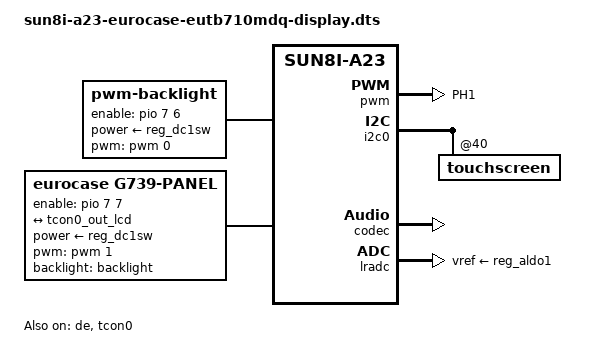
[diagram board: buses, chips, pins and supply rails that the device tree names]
// SPDX-License-Identifier: (GPL-2.0+ OR MIT)
#include "sun8i-a23-eurocase-eutb710mdq-peripherals.dts"
#include <dt-bindings/pwm/pwm.h>
#include <dt-bindings/input/input.h>

/ {
    chosen {
        bootargs = "console=tty0 console=ttyS0,115200 earlycon=uart8250,mmio32,0x01c28000,115200n8 maxcpus=2 clk_ignore_unused loglevel=7 panic=0 rdinit=/init";
    };
    backlight: backlight {
        compatible = "pwm-backlight";
        pwms = <&pwm 0 20000 PWM_POLARITY_INVERTED>;
        enable-gpios = <&pio 7 6 GPIO_ACTIVE_HIGH>;
        power-supply = <&reg_dc1sw>;
        brightness-levels = <0 8 16 32 48 64 96 130>;
        default-brightness-level = <3>;
        post-pwm-on-delay-ms = <100>;
    };
    panel {
        compatible = "eurocase,g739-panel";
        backlight = <&backlight>;
        power-supply = <&reg_dc1sw>;
        enable-gpios = <&pio 7 7 GPIO_ACTIVE_HIGH>; // PH_CFG0 stock=0x11222222
        pwms = <&pwm 1 66666 0>; // DT flag 0 = normal polarity
        pwm-names = "vcom";
        port {
            panel_input: endpoint { remote-endpoint = <&tcon0_out_lcd>; };
        };
    };
};

&reg_dc1sw { regulator-enable-ramp-delay = <10000>; };
&de { status = "okay"; };
&tcon0 {
    pinctrl-names = "default";
    pinctrl-0 = <&lcd_rgb666_pins>;
    status = "okay";
};
&tcon0_out {
    #address-cells = <1>;
    #size-cells = <0>;
    tcon0_out_lcd: endpoint@0 { reg = <0>; remote-endpoint = <&panel_input>; };
};
&pwm {
    pinctrl-names = "default";
    pinctrl-0 = <&pwm0_pin &g739_pwm1_pin>;
    status = "okay";
};
&pio {
    g739_pwm1_pin: pwm1-pin {
        pins = "PH1";
        function = "pwm1";
    };
};
&i2c0 {
    touchscreen@40 {
        touchscreen-size-x = <1024>;
        touchscreen-size-y = <600>;
    };
};

&codec {
    allwinner,pa-gpios = <&pio 7 9 GPIO_ACTIVE_HIGH>;
    allwinner,audio-routing = "Headphone", "HP", "Speaker", "HP";
    status = "okay";
};

&lradc {
    vref-supply = <&reg_aldo1>;
    status = "okay";
    button-home {
        label = "Home";
        linux,code = <KEY_HOME>;
        channel = <0>;
        voltage = <400000>; // Candidate from stock recovery ADC range 10..15
    };
};
